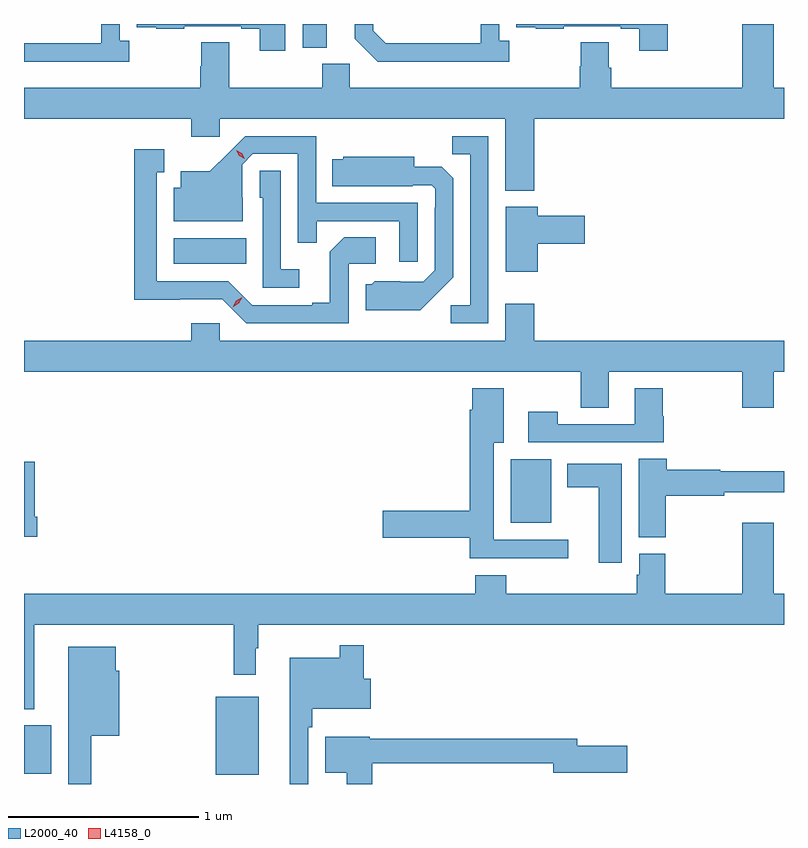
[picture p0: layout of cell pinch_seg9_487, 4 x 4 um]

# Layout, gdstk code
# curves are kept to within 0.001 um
import gdstk
lib = gdstk.Library(unit=1e-6, precision=1e-09)
def R(c, l, rs):  # rectangles x0, y0, x1, y1
    for r in rs: c.add(gdstk.rectangle(r[:2], r[2:], *l))
def P(c, l, *ps):  # polygons
    for p in ps: c.add(gdstk.Polygon(p, *l))
L2000_40 = (2000, 40)
L4158_0 = (4158, 0)

pinch_seg9_487 = lib.new_cell('pinch_seg9_487')
R(pinch_seg9_487, L2000_40, [(282.116,1198.295,282.343,1198.705), (281.107,1198.301,281.251,1198.555), (283.67,1199.621,283.882,1199.956), (281.894,1200.986,282.278,1201.12), (282.573,1202.123,282.7,1202.247)])
P(pinch_seg9_487, L2000_40, [(284.494,1202.247),(283.699,1202.247),(283.699,1202.229),(283.801,1202.229),(283.801,1202.223),(283.949,1202.223),(283.949,1202.235),(284.249,1202.235),(284.249,1202.223),(284.345,1202.223),(284.345,1202.106),(284.494,1202.106)],
  [(282.483,1202.247),(281.701,1202.247),(281.701,1202.229),(281.803,1202.229),(281.803,1202.223),(281.951,1202.223),(281.951,1202.235),(282.251,1202.235),(282.251,1202.223),(282.347,1202.223),(282.347,1202.106),(282.483,1202.106)],
  [(281.662,1202.158),(281.61,1202.158),(281.61,1202.247),(281.513,1202.247),(281.513,1202.145),(281.107,1202.145),(281.107,1202.048),(281.662,1202.048)],
  [(283.66,1202.158),(283.608,1202.158),(283.608,1202.247),(283.511,1202.247),(283.511,1202.145),(283.011,1202.145),(282.945,1202.211),(282.945,1202.247),(282.849,1202.247),(282.849,1202.169),(282.97,1202.048),(283.66,1202.048)],
  [(283.793,1201.748),(285.107,1201.748),(285.107,1201.912),(285.052,1201.912),(285.052,1202.247),(284.888,1202.247),(284.888,1201.912),(284.198,1201.912),(284.198,1202.018),(284.185,1202.018),(284.185,1202.15),(284.038,1202.15),(284.038,1202.025),(284.033,1202.025),(284.033,1201.912),(282.822,1201.912),(282.822,1202.038),(282.676,1202.038),(282.676,1201.912),(282.187,1201.912),(282.187,1202.15),(282.04,1202.15),(282.04,1202.025),(282.035,1202.025),(282.035,1201.912),(281.107,1201.912),(281.107,1201.748),(281.987,1201.748),(281.987,1201.653),(282.138,1201.653),(282.138,1201.748),(283.64,1201.748),(283.64,1201.37),(283.793,1201.37)],
  [(283.551,1201.656),(283.36,1201.656),(283.36,1201.561),(283.455,1201.561),(283.455,1200.768),(283.353,1200.768),(283.353,1200.672),(283.551,1200.672)],
  [(283.179,1201.305),(282.645,1201.305),(282.645,1201.656),(282.272,1201.656),(282.085,1201.471),(281.933,1201.471),(281.933,1201.384),(281.894,1201.384),(281.894,1201.208),(282.259,1201.208),(282.259,1201.332),(282.255,1201.332),(282.255,1201.506),(282.312,1201.563),(282.549,1201.563),(282.549,1201.096),(282.647,1201.096),(282.647,1201.209),(283.083,1201.209),(283.083,1200.996),(283.179,1200.996)],
  [(282.816,1200.984),(282.958,1200.984),(282.958,1201.124),(282.793,1201.124),(282.717,1201.048),(282.717,1200.781),(282.623,1200.781),(282.623,1200.768),(282.309,1200.768),(282.183,1200.894),(281.806,1200.894),(281.806,1201.467),(281.845,1201.467),(281.845,1201.588),(281.688,1201.588),(281.688,1200.797),(282.15,1200.798),(282.276,1200.672),(282.816,1200.672)],
  [(283.273,1200.821),(283.365,1200.914),(283.365,1201.436),(283.306,1201.495),(283.162,1201.495),(283.162,1201.549),(282.786,1201.549),(282.786,1201.534),(282.73,1201.534),(282.73,1201.394),(283.154,1201.394),(283.154,1201.398),(283.254,1201.398),(283.272,1201.38),(283.272,1201.28),(283.269,1201.28),(283.269,1200.951),(283.209,1200.891),(282.952,1200.892),(282.936,1200.876),(282.905,1200.876),(282.905,1200.74),(283.193,1200.74)],
  [(282.556,1200.955),(282.459,1200.955),(282.459,1201.475),(282.348,1201.475),(282.348,1201.332),(282.363,1201.332),(282.363,1200.858),(282.556,1200.858)],
  [(283.81,1201.091),(284.059,1201.091),(284.059,1201.238),(283.81,1201.238),(283.81,1201.285),(283.643,1201.285),(283.643,1200.942),(283.81,1200.942)],
  [(284.185,1200.416),(284.888,1200.416),(284.888,1200.228),(285.052,1200.228),(285.052,1200.416),(285.107,1200.416),(285.107,1200.58),(283.793,1200.58),(283.793,1200.775),(283.64,1200.775),(283.64,1200.58),(282.138,1200.58),(282.138,1200.673),(281.987,1200.673),(281.987,1200.58),(281.107,1200.58),(281.107,1200.416),(284.038,1200.416),(284.038,1200.226),(284.185,1200.226)],
  [(284.474,1200.183),(284.469,1200.183),(284.469,1200.331),(284.321,1200.331),(284.321,1200.141),(283.917,1200.141),(283.917,1200.205),(283.761,1200.205),(283.761,1200.045),(284.474,1200.045)],
  [(283.972,1199.532),(283.579,1199.532),(283.579,1200.044),(283.633,1200.044),(283.633,1200.331),(283.466,1200.331),(283.466,1200.218),(283.454,1200.218),(283.454,1199.684),(282.996,1199.684),(282.996,1199.542),(283.454,1199.542),(283.454,1199.435),(283.972,1199.435)],
  [(284.484,1199.764),(284.792,1199.764),(284.792,1199.783),(285.107,1199.783),(285.107,1199.893),(284.772,1199.893),(284.772,1199.9),(284.489,1199.9),(284.489,1199.96),(284.342,1199.96),(284.342,1199.545),(284.484,1199.545)],
  [(281.177,1199.653),(281.164,1199.653),(281.164,1199.944),(281.107,1199.944),(281.107,1199.549),(281.177,1199.549)],
  [(284.254,1199.932),(283.967,1199.932),(283.967,1199.81),(284.132,1199.81),(284.132,1199.412),(284.254,1199.412)],
  [(281.161,1199.084),(282.211,1199.084),(282.211,1198.821),(282.328,1198.821),(282.328,1198.961),(282.34,1198.961),(282.34,1199.084),(285.107,1199.084),(285.107,1199.248),(285.052,1199.248),(285.052,1199.623),(284.888,1199.623),(284.888,1199.248),(284.481,1199.248),(284.481,1199.46),(284.345,1199.46),(284.345,1199.349),(284.333,1199.349),(284.333,1199.248),(283.646,1199.248),(283.646,1199.347),(283.481,1199.347),(283.481,1199.248),(281.107,1199.248),(281.107,1198.64),(281.161,1198.64)],
  [(282.603,1198.547),(282.623,1198.547),(282.623,1198.643),(282.931,1198.643),(282.931,1198.801),(282.896,1198.801),(282.896,1198.978),(282.768,1198.978),(282.768,1198.912),(282.506,1198.912),(282.506,1198.247),(282.603,1198.247)],
  [(281.461,1198.502),(281.608,1198.502),(281.608,1198.842),(281.59,1198.842),(281.59,1198.969),(281.339,1198.969),(281.339,1198.247),(281.461,1198.247)],
  [(282.941,1198.356),(283.892,1198.356),(283.892,1198.306),(284.281,1198.306),(284.281,1198.448),(284.02,1198.448),(284.02,1198.484),(282.928,1198.484),(282.928,1198.495),(282.692,1198.495),(282.692,1198.307),(282.806,1198.307),(282.806,1198.247),(282.941,1198.247)])
P(pinch_seg9_487, L4158_0, [(282.27,1201.537),(282.24,1201.553),(282.223,1201.583),(282.223,1201.583),(282.223,1201.583),(282.254,1201.568),(282.27,1201.538),(282.27,1201.537)],
  [(282.205,1200.757),(282.205,1200.757),(282.223,1200.79),(282.255,1200.808),(282.255,1200.808),(282.255,1200.808),(282.237,1200.776),(282.206,1200.757)])

lib.write_gds('pinch_seg9_487.gds')
